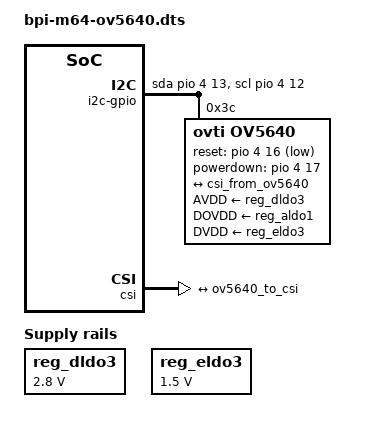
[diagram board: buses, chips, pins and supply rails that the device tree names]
// SPDX-License-Identifier: (GPL-2.0+ OR MIT)
//
// Copyright (C) 2018 Chen-Yu Tsai <wens@csie.org>
//
// Bananapi camera module based on OV5640

#ifdef __DTO_TEST__
#include <arm64/allwinner/sun50i-a64-bananapi-m64.dts>
#else
/dts-v1/;
/plugin/;
#endif

#include <dt-bindings/clock/sun50i-a64-ccu.h>
#include <dt-bindings/gpio/gpio.h>

&{/} {
	i2c-gpio {
		compatible = "i2c-gpio";
		scl-gpios = <&pio 4 12 (GPIO_ACTIVE_HIGH|GPIO_OPEN_DRAIN)>; /* PE12 */
		sda-gpios = <&pio 4 13 (GPIO_ACTIVE_HIGH|GPIO_OPEN_DRAIN)>; /* PE13 */
		#address-cells = <1>;
		#size-cells = <0>;

		ov5640: camera@3c {
			compatible = "ovti,ov5640";
			reg = <0x3c>;
			pinctrl-names = "default";
			pinctrl-0 = <&csi_mclk_pin>;
			clocks = <&ccu CLK_CSI_MCLK>;
			clock-names = "xclk";

			reset-gpios = <&pio 4 16 GPIO_ACTIVE_LOW>; /* PE16 */
			powerdown-gpios = <&pio 4 17 GPIO_ACTIVE_HIGH>; /* PE17 */
			AVDD-supply = <&reg_dldo3>;
			DOVDD-supply = <&reg_aldo1>;
			DVDD-supply = <&reg_eldo3>;

			port {
				ov5640_to_csi: endpoint {
					remote-endpoint = <&csi_from_ov5640>;
					bus-width = <8>;
					data-shift = <2>;
					hsync-active = <1>; /* Active high */
					vsync-active = <0>; /* Active low */
					data-active = <1>;  /* Active high */
					pclk-sample = <1>;  /* Rising */
				};
			};
		};
	};
};

&csi {
	status = "okay";

	port {
		/* Parallel bus endpoint */
		csi_from_ov5640: endpoint {
			remote-endpoint = <&ov5640_to_csi>;
			bus-width = <8>;
			data-shift = <2>;
			hsync-active = <1>; /* Active high */
			vsync-active = <0>; /* Active low */
			data-active = <1>;  /* Active high */
			pclk-sample = <1>;  /* Rising */
		};
	};
};

&pio {
	csi_mclk_pin: csi-mclk-pin {
		pins = "PE1";
		function = "csi";
	};
};

&reg_dldo3 {
	regulator-min-microvolt = <2800000>;
	regulator-max-microvolt = <2800000>;
	regulator-name = "cam-avdd";
};

&reg_eldo3 {
	regulator-min-microvolt = <1500000>;
	regulator-max-microvolt = <1500000>;
	regulator-name = "cam-dvdd";
};
